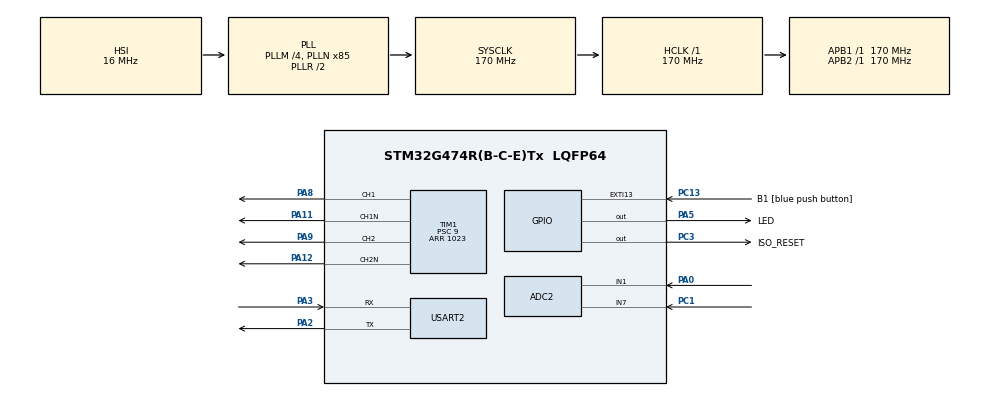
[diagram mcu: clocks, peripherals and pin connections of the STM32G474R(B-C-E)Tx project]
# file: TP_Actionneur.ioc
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ADC2.Channel-0\#ChannelRegularConversion=ADC_CHANNEL_7
ADC2.ClockPrescaler=ADC_CLOCK_ASYNC_DIV4
ADC2.ExternalTrigConv=ADC_EXTERNALTRIG_T2_CC2
ADC2.NbrOfConversion=1
ADC2.NbrOfConversionFlag=1
ADC2.OffsetNumber-0\#ChannelRegularConversion=ADC_OFFSET_NONE
ADC2.Rank-0\#ChannelRegularConversion=1
ADC2.SamplingTime-0\#ChannelRegularConversion=ADC_SAMPLETIME_47CYCLES_5
Mcu.Family=STM32G4
Mcu.Name=STM32G474R(B-C-E)Tx
Mcu.Package=LQFP64
NVIC.ADC1_2_IRQn=true\:0\:0\:false\:false\:true\:true\:true\:true
NVIC.EXTI15_10_IRQn=true\:0\:0\:false\:false\:true\:true\:true\:true
NVIC.PriorityGroup=NVIC_PRIORITYGROUP_4
NVIC.USART2_IRQn=true\:0\:0\:false\:false\:true\:true\:true\:true
PA0.Mode=IN1-Single-Ended
PA0.Signal=ADC2_IN1
PA11.Mode=PWM Generation1 CH1 CH1N
PA11.Signal=TIM1_CH1N
PA12.Mode=PWM Generation2 CH2 CH2N
PA12.Signal=TIM1_CH2N
PA13.GPIO_Label=T_SWDIO
PA13.Mode=Serial_Wire
PA13.Signal=SYS_JTMS-SWDIO
PA14.GPIO_Label=T_SWCLK
PA14.Mode=Serial_Wire
PA14.Signal=SYS_JTCK-SWCLK
PA2.Mode=Asynchronous
PA2.Signal=USART2_TX
PA3.Mode=Asynchronous
PA3.Signal=USART2_RX
PA5.GPIO_Label=LED
PA5.Signal=GPIO_Output
PA8.Signal=S_TIM1_CH1
PA9.Signal=S_TIM1_CH2
PC1.Mode=IN7-Single-Ended
PC1.Signal=ADC2_IN7
PC13.GPIO_Label=B1 [blue push button]
PC13.Signal=GPXTI13
PC14-OSC32_IN.Mode=LSE-External-Oscillator
PC14-OSC32_IN.Signal=RCC_OSC32_IN
PC15-OSC32_OUT.Mode=LSE-External-Oscillator
PC15-OSC32_OUT.Signal=RCC_OSC32_OUT
PC3.GPIO_Label=ISO_RESET
PC3.Signal=GPIO_Output
PF0-OSC_IN.Mode=HSE-External-Oscillator
PF0-OSC_IN.Signal=RCC_OSC_IN
PF1-OSC_OUT.Mode=HSE-External-Oscillator
PF1-OSC_OUT.Signal=RCC_OSC_OUT
ProjectManager.HeapSize=0x200
ProjectManager.StackSize=0x400
ProjectManager.TargetToolchain=STM32CubeIDE
RCC.ADC12Freq_Value=170000000
RCC.ADC345Freq_Value=170000000
RCC.AHBFreq_Value=170000000
RCC.APB1Freq_Value=170000000
RCC.APB1TimFreq_Value=170000000
RCC.APB2Freq_Value=170000000
RCC.APB2TimFreq_Value=170000000
RCC.CortexFreq_Value=170000000
RCC.EXTERNAL_CLOCK_VALUE=12288000
RCC.HCLKFreq_Value=170000000
RCC.HSE_VALUE=24000000
RCC.HSI48_VALUE=48000000
RCC.HSI_VALUE=16000000
RCC.PLLM=RCC_PLLM_DIV4
RCC.PLLN=85
RCC.RTCClockSelection=RCC_RTCCLKSOURCE_LSE
RCC.SYSCLKFreq_VALUE=170000000
RCC.SYSCLKSource=RCC_SYSCLKSOURCE_PLLCLK
RCC.USBFreq_Value=170000000
RCC.VCOOutputFreq_Value=340000000
SH.S_TIM1_CH1.0=TIM1_CH1,PWM Generation1 CH1 CH1N
SH.S_TIM1_CH2.0=TIM1_CH2,PWM Generation2 CH2 CH2N
TIM1.AutoReloadPreload=TIM_AUTORELOAD_PRELOAD_ENABLE
TIM1.Channel-PWM\ Generation1\ CH1\ CH1N=TIM_CHANNEL_1
TIM1.Channel-PWM\ Generation2\ CH2\ CH2N=TIM_CHANNEL_2
TIM1.DeadTime=210
TIM1.OCNPolarity_1=TIM_OCNPOLARITY_HIGH
TIM1.OCNPolarity_2=TIM_OCNPOLARITY_HIGH
TIM1.OCPolarity_2=TIM_OCPOLARITY_HIGH
TIM1.PeriodNoDither=1023
TIM1.Prescaler=9
TIM1.PulseNoDither_1=512
TIM1.PulseNoDither_2=512
USART2.VirtualMode-Asynchronous=VM_ASYNC
VP_SYS_VS_DBSignals.Mode=DisableDeadBatterySignals
VP_TIM1_VS_ClockSourceINT.Mode=Internal
board=NUCLEO-G474RE

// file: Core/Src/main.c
/* USER CODE BEGIN Header */
/**
  ******************************************************************************
  * @file           main.c
  * @brief          Main program body
  * @author			Solène Altaber, Lilian Fournier, Corentin Fraysse
  ******************************************************************************
  * @attention
  *
  * Copyright (c) 2022 STMicroelectronics.
  * All rights reserved.
  *
  * This software is licensed under terms that can be found in the LICENSE file
  * in the root directory of this software component.
  * If no LICENSE file comes with this software, it is provided AS-IS.
  *
  ******************************************************************************
  */
/* USER CODE END Header */
#include "main.h"

/* USER CODE BEGIN Includes */
#include "shell.h"
/* USER CODE END Includes */

ADC_HandleTypeDef hadc2;

TIM_HandleTypeDef htim1;

UART_HandleTypeDef huart2;

/* USER CODE BEGIN PV */
uint32_t uartRxReceived;
uint8_t uartRxBuffer[UART_RX_BUFFER_SIZE];
uint8_t uartTxBuffer[UART_TX_BUFFER_SIZE];
int cmd_ready = 0;
/* USER CODE END PV */

void SystemClock_Config(void);
static void MX_GPIO_Init(void);
static void MX_TIM1_Init(void);
static void MX_USART2_UART_Init(void);
static void MX_ADC2_Init(void);

/* USER CODE BEGIN 0 */
int __io_putchar(int chr)
{
	HAL_UART_Transmit(&huart2, (uint8_t*)&chr, 1, HAL_MAX_DELAY);
	return chr;
}

/**
 * @fn PWM_start(void)
 * @brief Lance les PWM sur le timer 1
 *
 * @param none
 * @return nothing
 */
void PWN_start(void){
	HAL_TIM_PWM_Start(&htim1,TIM_CHANNEL_1);
	HAL_TIMEx_PWMN_Start(&htim1, TIM_CHANNEL_1);
	HAL_TIM_PWM_Start(&htim1,TIM_CHANNEL_2);
	HAL_TIMEx_PWMN_Start(&htim1, TIM_CHANNEL_2);
}

/**
 * @fn PWM_stop(void)
 * @brief Stop les PWM sur le timer 1
 *
 * @param none
 * @return nothing
 */
void PWN_stop(void){
	HAL_TIM_PWM_Stop(&htim1,TIM_CHANNEL_1);
	HAL_TIMEx_PWMN_Stop(&htim1, TIM_CHANNEL_1);
	HAL_TIM_PWM_Stop(&htim1,TIM_CHANNEL_2);
	HAL_TIMEx_PWMN_Stop(&htim1, TIM_CHANNEL_2);
}

/**
 * @fn HAL_GPIO_EXTI_Callback(uint16_t GPIO_Pin)
 * @brief Overwrite du callback du bouton pour lancer les PWM avec
 *
 * @param uint16_t GPIO_Pin : Unused
 * @return nothing
 */
void HAL_GPIO_EXTI_Callback(uint16_t GPIO_Pin)
{
	  PWN_start();
	  printf("Bouton\r\n");
}
/* USER CODE END 0 */

/**
  * @brief  Entrée de l'application
  *
  * Connexions :
  * 	- Blue TOP 			PA 12 -> PIN 11
  * 	- Blue BOTTOM 		PA 9 -> PIN 29
  * 	- Yellow TOP 		PA 11 -> PIN 12
  * 	- Yellow BOTTOM 	PA 8 -> PIN 30
  * 	- RESET				PC 3 -> PIN 33
  * 	- ADC1_IN			PA 0 -> PIN 16
  * @retval int
  */
int main(void)
{

  /* MCU Configuration--------------------------------------------------------*/

  /* Reset of all peripherals, Initializes the Flash interface and the Systick. */
  HAL_Init();

  /* Configure the system clock */
  SystemClock_Config();

  /* Initialize all configured peripherals */
  MX_GPIO_Init();
  MX_TIM1_Init();
  MX_USART2_UART_Init();
  MX_ADC2_Init();
  /* USER CODE BEGIN 2 */
  /* Setup de l'ADC */
  if (HAL_ADCEx_Calibration_Start(&hadc2, ADC_SINGLE_ENDED) != HAL_OK) {
	  Error_Handler();
  }
  HAL_Delay(100);
  if (HAL_ADC_Start(&hadc2) != HAL_OK){
	  Error_Handler();
  }

  if ( HAL_ADC_PollForConversion(&hadc2, 50)!= HAL_OK) {
  	  Error_Handler();
  }

  float val = HAL_ADC_GetValue(&hadc2);
  int size = sprintf(uartTxBuffer, "value ADC= %f\r\n", val);
  HAL_UART_Transmit(&huart2, uartTxBuffer, size, HAL_MAX_DELAY);
  shell_start();
  /* USER CODE END 2 */

  /* Infinite loop */
  /* USER CODE BEGIN WHILE */
  while (1)
  {
	  if (uartRxReceived) {
		  shell_process();
	  }
	  if (cmd_ready) {
		  shell_execute();
	  }

    /* USER CODE END WHILE */

  }
}

void SystemClock_Config(void)
{
  RCC_OscInitTypeDef RCC_OscInitStruct = {0};
  RCC_ClkInitTypeDef RCC_ClkInitStruct = {0};

  /** Configure the main internal regulator output voltage
  */
  HAL_PWREx_ControlVoltageScaling(PWR_REGULATOR_VOLTAGE_SCALE1_BOOST);

  /** Initializes the RCC Oscillators according to the specified parameters
  * in the RCC_OscInitTypeDef structure.
  */
  RCC_OscInitStruct.OscillatorType = RCC_OSCILLATORTYPE_HSI;
  RCC_OscInitStruct.HSIState = RCC_HSI_ON;
  RCC_OscInitStruct.HSICalibrationValue = RCC_HSICALIBRATION_DEFAULT;
  RCC_OscInitStruct.PLL.PLLState = RCC_PLL_ON;
  RCC_OscInitStruct.PLL.PLLSource = RCC_PLLSOURCE_HSI;
  RCC_OscInitStruct.PLL.PLLM = RCC_PLLM_DIV4;
  RCC_OscInitStruct.PLL.PLLN = 85;
  RCC_OscInitStruct.PLL.PLLP = RCC_PLLP_DIV2;
  RCC_OscInitStruct.PLL.PLLQ = RCC_PLLQ_DIV2;
  RCC_OscInitStruct.PLL.PLLR = RCC_PLLR_DIV2;
  if (HAL_RCC_OscConfig(&RCC_OscInitStruct) != HAL_OK)
  {
    Error_Handler();
  }

  /** Initializes the CPU, AHB and APB buses clocks
  */
  RCC_ClkInitStruct.ClockType = RCC_CLOCKTYPE_HCLK|RCC_CLOCKTYPE_SYSCLK
                              |RCC_CLOCKTYPE_PCLK1|RCC_CLOCKTYPE_PCLK2;
  RCC_ClkInitStruct.SYSCLKSource = RCC_SYSCLKSOURCE_PLLCLK;
  RCC_ClkInitStruct.AHBCLKDivider = RCC_SYSCLK_DIV1;
  RCC_ClkInitStruct.APB1CLKDivider = RCC_HCLK_DIV1;
  RCC_ClkInitStruct.APB2CLKDivider = RCC_HCLK_DIV1;

  if (HAL_RCC_ClockConfig(&RCC_ClkInitStruct, FLASH_LATENCY_4) != HAL_OK)
  {
    Error_Handler();
  }
}

static void MX_ADC2_Init(void)
{

  ADC_ChannelConfTypeDef sConfig = {0};

  /** Common config
  */
  hadc2.Instance = ADC2;
  hadc2.Init.ClockPrescaler = ADC_CLOCK_ASYNC_DIV4;
  hadc2.Init.Resolution = ADC_RESOLUTION_12B;
  hadc2.Init.DataAlign = ADC_DATAALIGN_RIGHT;
  hadc2.Init.GainCompensation = 0;
  hadc2.Init.ScanConvMode = ADC_SCAN_DISABLE;
  hadc2.Init.EOCSelection = ADC_EOC_SINGLE_CONV;
  hadc2.Init.LowPowerAutoWait = DISABLE;
  hadc2.Init.ContinuousConvMode = DISABLE;
  hadc2.Init.NbrOfConversion = 1;
  hadc2.Init.DiscontinuousConvMode = DISABLE;
  hadc2.Init.ExternalTrigConv = ADC_EXTERNALTRIG_T2_CC2;
  hadc2.Init.ExternalTrigConvEdge = ADC_EXTERNALTRIGCONVEDGE_RISING;
  hadc2.Init.DMAContinuousRequests = DISABLE;
  hadc2.Init.Overrun = ADC_OVR_DATA_PRESERVED;
  hadc2.Init.OversamplingMode = DISABLE;
  if (HAL_ADC_Init(&hadc2) != HAL_OK)
  {
    Error_Handler();
  }

  /** Configure Regular Channel
  */
  sConfig.Channel = ADC_CHANNEL_7;
  sConfig.Rank = ADC_REGULAR_RANK_1;
  sConfig.SamplingTime = ADC_SAMPLETIME_47CYCLES_5;
  sConfig.SingleDiff = ADC_SINGLE_ENDED;
  sConfig.OffsetNumber = ADC_OFFSET_NONE;
  sConfig.Offset = 0;
  if (HAL_ADC_ConfigChannel(&hadc2, &sConfig) != HAL_OK)
  {
    Error_Handler();
  }

}

static void MX_TIM1_Init(void)
{

  TIM_ClockConfigTypeDef sClockSourceConfig = {0};
  TIM_MasterConfigTypeDef sMasterConfig = {0};
  TIM_OC_InitTypeDef sConfigOC = {0};
  TIM_BreakDeadTimeConfigTypeDef sBreakDeadTimeConfig = {0};

  htim1.Instance = TIM1;
  htim1.Init.Prescaler = 9;
  htim1.Init.CounterMode = TIM_COUNTERMODE_UP;
  htim1.Init.Period = 1023;
  htim1.Init.ClockDivision = TIM_CLOCKDIVISION_DIV1;
  htim1.Init.RepetitionCounter = 0;
  htim1.Init.AutoReloadPreload = TIM_AUTORELOAD_PRELOAD_ENABLE;
  if (HAL_TIM_Base_Init(&htim1) != HAL_OK)
  {
    Error_Handler();
  }
  sClockSourceConfig.ClockSource = TIM_CLOCKSOURCE_INTERNAL;
  if (HAL_TIM_ConfigClockSource(&htim1, &sClockSourceConfig) != HAL_OK)
  {
    Error_Handler();
  }
  if (HAL_TIM_PWM_Init(&htim1) != HAL_OK)
  {
    Error_Handler();
  }
  sMasterConfig.MasterOutputTrigger = TIM_TRGO_RESET;
  sMasterConfig.MasterOutputTrigger2 = TIM_TRGO2_RESET;
  sMasterConfig.MasterSlaveMode = TIM_MASTERSLAVEMODE_DISABLE;
  if (HAL_TIMEx_MasterConfigSynchronization(&htim1, &sMasterConfig) != HAL_OK)
  {
    Error_Handler();
  }
  sConfigOC.OCMode = TIM_OCMODE_PWM1;
  sConfigOC.Pulse = 512;
  sConfigOC.OCPolarity = TIM_OCPOLARITY_HIGH;
  sConfigOC.OCNPolarity = TIM_OCNPOLARITY_HIGH;
  sConfigOC.OCFastMode = TIM_OCFAST_DISABLE;
  sConfigOC.OCIdleState = TIM_OCIDLESTATE_RESET;
  sConfigOC.OCNIdleState = TIM_OCNIDLESTATE_RESET;
  if (HAL_TIM_PWM_ConfigChannel(&htim1, &sConfigOC, TIM_CHANNEL_1) != HAL_OK)
  {
    Error_Handler();
  }
  if (HAL_TIM_PWM_ConfigChannel(&htim1, &sConfigOC, TIM_CHANNEL_2) != HAL_OK)
  {
    Error_Handler();
  }
  sBreakDeadTimeConfig.OffStateRunMode = TIM_OSSR_DISABLE;
  sBreakDeadTimeConfig.OffStateIDLEMode = TIM_OSSI_DISABLE;
  sBreakDeadTimeConfig.LockLevel = TIM_LOCKLEVEL_OFF;
  sBreakDeadTimeConfig.DeadTime = 210;
  sBreakDeadTimeConfig.BreakState = TIM_BREAK_DISABLE;
  sBreakDeadTimeConfig.BreakPolarity = TIM_BREAKPOLARITY_HIGH;
  sBreakDeadTimeConfig.BreakFilter = 0;
  sBreakDeadTimeConfig.BreakAFMode = TIM_BREAK_AFMODE_INPUT;
  sBreakDeadTimeConfig.Break2State = TIM_BREAK2_DISABLE;
  sBreakDeadTimeConfig.Break2Polarity = TIM_BREAK2POLARITY_HIGH;
  sBreakDeadTimeConfig.Break2Filter = 0;
  sBreakDeadTimeConfig.Break2AFMode = TIM_BREAK_AFMODE_INPUT;
  sBreakDeadTimeConfig.AutomaticOutput = TIM_AUTOMATICOUTPUT_DISABLE;
  if (HAL_TIMEx_ConfigBreakDeadTime(&htim1, &sBreakDeadTimeConfig) != HAL_OK)
  {
    Error_Handler();
  }
  HAL_TIM_MspPostInit(&htim1);

}

static void MX_USART2_UART_Init(void)
{

  huart2.Instance = USART2;
  huart2.Init.BaudRate = 115200;
  huart2.Init.WordLength = UART_WORDLENGTH_8B;
  huart2.Init.StopBits = UART_STOPBITS_1;
  huart2.Init.Parity = UART_PARITY_NONE;
  huart2.Init.Mode = UART_MODE_TX_RX;
  huart2.Init.HwFlowCtl = UART_HWCONTROL_NONE;
  huart2.Init.OverSampling = UART_OVERSAMPLING_16;
  huart2.Init.OneBitSampling = UART_ONE_BIT_SAMPLE_DISABLE;
  huart2.Init.ClockPrescaler = UART_PRESCALER_DIV1;
  huart2.AdvancedInit.AdvFeatureInit = UART_ADVFEATURE_NO_INIT;
  if (HAL_UART_Init(&huart2) != HAL_OK)
  {
    Error_Handler();
  }
  if (HAL_UARTEx_SetTxFifoThreshold(&huart2, UART_TXFIFO_THRESHOLD_1_8) != HAL_OK)
  {
    Error_Handler();
  }
  if (HAL_UARTEx_SetRxFifoThreshold(&huart2, UART_RXFIFO_THRESHOLD_1_8) != HAL_OK)
  {
    Error_Handler();
  }
  if (HAL_UARTEx_DisableFifoMode(&huart2) != HAL_OK)
  {
    Error_Handler();
  }

}

static void MX_GPIO_Init(void)
{
  GPIO_InitTypeDef GPIO_InitStruct = {0};

  /* GPIO Ports Clock Enable */
  __HAL_RCC_GPIOC_CLK_ENABLE();
  __HAL_RCC_GPIOF_CLK_ENABLE();
  __HAL_RCC_GPIOA_CLK_ENABLE();

  /*Configure GPIO pin Output Level */
  HAL_GPIO_WritePin(ISO_RESET_GPIO_Port, ISO_RESET_Pin, GPIO_PIN_RESET);

  /*Configure GPIO pin Output Level */
  HAL_GPIO_WritePin(LED_GPIO_Port, LED_Pin, GPIO_PIN_RESET);

  /*Configure GPIO pin : B1_Pin */
  GPIO_InitStruct.Pin = B1_Pin;
  GPIO_InitStruct.Mode = GPIO_MODE_IT_RISING;
  GPIO_InitStruct.Pull = GPIO_NOPULL;
  HAL_GPIO_Init(B1_GPIO_Port, &GPIO_InitStruct);

  /*Configure GPIO pin : ISO_RESET_Pin */
  GPIO_InitStruct.Pin = ISO_RESET_Pin;
  GPIO_InitStruct.Mode = GPIO_MODE_OUTPUT_PP;
  GPIO_InitStruct.Pull = GPIO_NOPULL;
  GPIO_InitStruct.Speed = GPIO_SPEED_FREQ_LOW;
  HAL_GPIO_Init(ISO_RESET_GPIO_Port, &GPIO_InitStruct);

  /*Configure GPIO pin : LED_Pin */
  GPIO_InitStruct.Pin = LED_Pin;
  GPIO_InitStruct.Mode = GPIO_MODE_OUTPUT_PP;
  GPIO_InitStruct.Pull = GPIO_NOPULL;
  GPIO_InitStruct.Speed = GPIO_SPEED_FREQ_LOW;
  HAL_GPIO_Init(LED_GPIO_Port, &GPIO_InitStruct);

  /* EXTI interrupt init*/
  HAL_NVIC_SetPriority(EXTI15_10_IRQn, 0, 0);
  HAL_NVIC_EnableIRQ(EXTI15_10_IRQn);

}

/* USER CODE BEGIN 4 */
void HAL_UART_RxCpltCallback (UART_HandleTypeDef * huart){
	uartRxReceived = 1;
	HAL_UART_Receive_IT(&huart2, uartRxBuffer, UART_RX_BUFFER_SIZE);
}
/* USER CODE END 4 */

void Error_Handler(void)
{
  /* USER CODE BEGIN Error_Handler_Debug */
	HAL_UART_Transmit(&huart2, "error\r\n", 7, HAL_MAX_DELAY);
  /* User can add his own implementation to report the HAL error return state */
  __disable_irq();
  while (1)
  {
  }
  /* USER CODE END Error_Handler_Debug */
}
